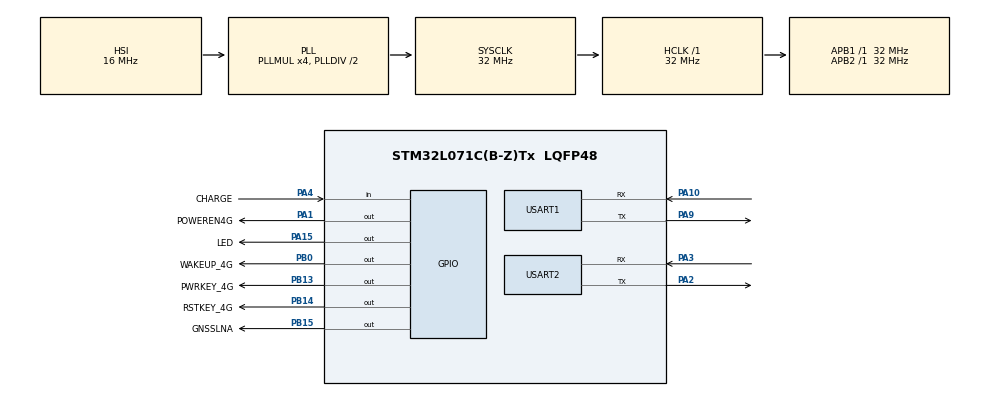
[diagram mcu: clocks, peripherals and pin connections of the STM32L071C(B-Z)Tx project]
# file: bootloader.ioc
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Dma.Request0=USART1_RX
Dma.Request1=USART2_RX
Dma.USART1_RX.0.Direction=DMA_PERIPH_TO_MEMORY
Dma.USART1_RX.0.Instance=DMA1_Channel3
Dma.USART1_RX.0.MemDataAlignment=DMA_MDATAALIGN_BYTE
Dma.USART1_RX.0.MemInc=DMA_MINC_ENABLE
Dma.USART1_RX.0.Mode=DMA_CIRCULAR
Dma.USART1_RX.0.PeriphDataAlignment=DMA_PDATAALIGN_BYTE
Dma.USART1_RX.0.PeriphInc=DMA_PINC_DISABLE
Dma.USART1_RX.0.Priority=DMA_PRIORITY_LOW
Dma.USART2_RX.1.Direction=DMA_PERIPH_TO_MEMORY
Dma.USART2_RX.1.Instance=DMA1_Channel5
Dma.USART2_RX.1.MemDataAlignment=DMA_MDATAALIGN_BYTE
Dma.USART2_RX.1.MemInc=DMA_MINC_ENABLE
Dma.USART2_RX.1.Mode=DMA_CIRCULAR
Dma.USART2_RX.1.PeriphDataAlignment=DMA_PDATAALIGN_BYTE
Dma.USART2_RX.1.PeriphInc=DMA_PINC_DISABLE
Dma.USART2_RX.1.Priority=DMA_PRIORITY_VERY_HIGH
IWDG.Prescaler=IWDG_PRESCALER_256
Mcu.Family=STM32L0
Mcu.Name=STM32L071C(B-Z)Tx
Mcu.Package=LQFP48
NVIC.DMA1_Channel2_3_IRQn=true\:0\:0\:false\:false\:true\:false\:true
NVIC.DMA1_Channel4_5_6_7_IRQn=true\:0\:0\:false\:false\:true\:false\:true
NVIC.RTC_IRQn=true\:0\:0\:false\:false\:true\:true\:true
NVIC.USART1_IRQn=true\:0\:0\:false\:false\:true\:true\:true
NVIC.USART2_IRQn=true\:0\:0\:false\:false\:true\:true\:true
PA1.GPIO_Label=POWEREN4G
PA1.Signal=GPIO_Output
PA10.GPIO_PuPd=GPIO_PULLUP
PA10.Mode=Asynchronous
PA10.Signal=USART1_RX
PA13.Mode=Serial_Wire
PA13.Signal=SYS_SWDIO
PA14.Mode=Serial_Wire
PA14.Signal=SYS_SWCLK
PA15.GPIO_Label=LED
PA15.Signal=GPIO_Output
PA2.GPIO_PuPd=GPIO_PULLUP
PA2.Mode=Asynchronous
PA2.Signal=USART2_TX
PA3.GPIO_PuPd=GPIO_PULLUP
PA3.Mode=Asynchronous
PA3.Signal=USART2_RX
PA4.GPIO_Label=CHARGE
PA4.Signal=GPIO_Input
PA9.GPIO_PuPd=GPIO_PULLUP
PA9.Mode=Asynchronous
PA9.Signal=USART1_TX
PB0.GPIO_Label=WAKEUP_4G
PB0.PinState=GPIO_PIN_SET
PB0.Signal=GPIO_Output
PB13.GPIO_Label=PWRKEY_4G
PB13.GPIO_ModeDefaultOutputPP=GPIO_MODE_OUTPUT_OD
PB13.PinState=GPIO_PIN_SET
PB13.Signal=GPIO_Output
PB14.GPIO_Label=RSTKEY_4G
PB14.GPIO_ModeDefaultOutputPP=GPIO_MODE_OUTPUT_OD
PB14.PinState=GPIO_PIN_SET
PB14.Signal=GPIO_Output
PB15.GPIO_Label=GNSSLNA
PB15.Signal=GPIO_Output
PC14-OSC32_IN.Mode=LSE-External-Oscillator
PC14-OSC32_IN.Signal=RCC_OSC32_IN
PC15-OSC32_OUT.Mode=LSE-External-Oscillator
PC15-OSC32_OUT.Signal=RCC_OSC32_OUT
ProjectManager.HeapSize=0x400
ProjectManager.StackSize=0x1000
ProjectManager.TargetToolchain=MDK-ARM V5.27
RCC.AHBFreq_Value=32000000
RCC.APB1Freq_Value=32000000
RCC.APB1TimFreq_Value=32000000
RCC.APB2Freq_Value=32000000
RCC.APB2TimFreq_Value=32000000
RCC.HCLKFreq_Value=32000000
RCC.HSE_VALUE=8000000
RCC.HSI16_VALUE=16000000
RCC.HSI_VALUE=16000000
RCC.MSI_VALUE=2097000
RCC.PLLMUL=RCC_PLLMUL_4
RCC.RTCClockSelection=RCC_RTCCLKSOURCE_LSE
RCC.SYSCLKFreq_VALUE=32000000
RCC.SYSCLKSource=RCC_SYSCLKSOURCE_PLLCLK
RCC.VCOOutputFreq_Value=64000000
RTC.WakeUpClock-WakeUp=RTC_WAKEUPCLOCK_CK_SPRE_16BITS
RTC.WakeUpCounter-WakeUp=9
USART1.VirtualMode-Asynchronous=VM_ASYNC
USART2.VirtualMode-Asynchronous=VM_ASYNC
VP_IWDG_VS_IWDG.Mode=IWDG_Activate
VP_RTC_VS_RTC_Activate.Mode=RTC_Enabled
VP_RTC_VS_RTC_WakeUp_intern.Mode=WakeUp
board=custom

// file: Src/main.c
/* USER CODE BEGIN Header */
/**
  ******************************************************************************
  * @file           : main.c
  * @brief          : Main program body
  ******************************************************************************
  * @attention
  *
  * <h2><center>&copy; Copyright (c) 2020 STMicroelectronics.
  * All rights reserved.</center></h2>
  *
  * This software component is licensed by ST under BSD 3-Clause license,
  * the "License"; You may not use this file except in compliance with the
  * License. You may obtain a copy of the License at:
  *                        opensource.org/licenses/BSD-3-Clause
  *
  ******************************************************************************
  */
/* USER CODE END Header */

#include "main.h"
#include "dma.h"
#include "iwdg.h"
#include "rtc.h"
#include "usart.h"
#include "gpio.h"

/* USER CODE BEGIN Includes */
#include "app_common.h"
/* USER CODE END Includes */

void SystemClock_Config(void);

/* USER CODE BEGIN 0 */

static void chargeDetProcess(void)
{
    static uint8_t chargestate = 0;
    //充电
    if (CHARGEDET == 1)
    {
        if (chargestate == 0)
        {
            chargestate = 1;
            LogMessage("Chargeing now ,close debug uart\n");
            HAL_UART_DeInit(&huart1);
        }
    }
    else
    {
        if (chargestate == 1)
        {
            chargestate = 0;
            MX_USART1_UART_Init();
            LogMessage("Uncharge,open debug uart\n");

        }
    }
}

void ledtogg(void)
{
    LED_TOGGLE;
    chargeDetProcess();
}
/* USER CODE END 0 */

int main(void)
{

    /* MCU Configuration--------------------------------------------------------*/

    /* Reset of all peripherals, Initializes the Flash interface and the Systick. */
    HAL_Init();

    /* Configure the system clock */
    SystemClock_Config();

    /* Initialize all configured peripherals */
    MX_GPIO_Init();
    MX_DMA_Init();
    MX_USART1_UART_Init();
    MX_USART2_UART_Init();
    MX_IWDG_Init();
    MX_RTC_Init();
    /* USER CODE BEGIN 2 */
    UsartBufInit();
    mcuEEpromInit();
    system_info.logmessagectl = 9;

    if (eeprom_info.updateStatus == 1)
    {
        LogPrintf("Bootversion:N58 Compline:%s %s\n", __DATE__, __TIME__);
        LogMessage("Run Bootloader Upgrade Process!\n");
        LogPrintf("Server:%s\nPort:%d\n", eeprom_info.Server, eeprom_info.ServerPort);
        LogPrintf("APN:%s,User:%s,Password:%s\n", eeprom_info.apn, eeprom_info.apnuser, eeprom_info.apnpassword);

        n58Init();
        updateUIS();

        HAL_UART_Receive_DMA(&huart1, usart1_ctl.dmarxbuf, USART1_RX_DMA_SIZE);
        __HAL_UART_CLEAR_IDLEFLAG(&huart1);
        __HAL_UART_ENABLE_IT(&huart1, UART_IT_IDLE);
        HAL_UART_Receive_DMA(&huart2, usart2_ctl.dmarxbuf, USART2_RX_DMA_SIZE);
        __HAL_UART_CLEAR_IDLEFLAG(&huart2);
        __HAL_UART_ENABLE_IT(&huart2, UART_IT_IDLE);
        startTimer(100, ledtogg, 1);
        startTimer(2000, n58ModulePowerOn, 0);
        startTimer(1000, n58NetworkConnectProcess, 1);
        startTimer(200, outPutNodeCmd, 1);
        startTimer(200, protocolRunFsm, 1);
    }
    else
    {
        LogMessage("Bootloader Done\n");
        if (JumpToApp(APPLICATION_ADDRESS) == 0)
        {
            LogMessage("Jump to app fail\n");
            eepromParamSaveUpdateStatus(1);
            HAL_NVIC_SystemReset();
        }
    }
    /* USER CODE END 2 */

    /* Infinite loop */
    /* USER CODE BEGIN WHILE */
    while (1)
    {
        uartReceiveCompleteCheck();
        timerRun();
        /* USER CODE END WHILE */

    }
}

void SystemClock_Config(void)
{
    RCC_OscInitTypeDef RCC_OscInitStruct = {0};
    RCC_ClkInitTypeDef RCC_ClkInitStruct = {0};
    RCC_PeriphCLKInitTypeDef PeriphClkInit = {0};

    /** Configure the main internal regulator output voltage
    */
    __HAL_PWR_VOLTAGESCALING_CONFIG(PWR_REGULATOR_VOLTAGE_SCALE1);
    /** Configure LSE Drive Capability
    */
    HAL_PWR_EnableBkUpAccess();
    __HAL_RCC_LSEDRIVE_CONFIG(RCC_LSEDRIVE_LOW);
    /** Initializes the CPU, AHB and APB busses clocks
    */
    RCC_OscInitStruct.OscillatorType = RCC_OSCILLATORTYPE_HSI | RCC_OSCILLATORTYPE_LSI
                                       | RCC_OSCILLATORTYPE_LSE;
    RCC_OscInitStruct.LSEState = RCC_LSE_ON;
    RCC_OscInitStruct.HSIState = RCC_HSI_ON;
    RCC_OscInitStruct.HSICalibrationValue = RCC_HSICALIBRATION_DEFAULT;
    RCC_OscInitStruct.LSIState = RCC_LSI_ON;
    RCC_OscInitStruct.PLL.PLLState = RCC_PLL_ON;
    RCC_OscInitStruct.PLL.PLLSource = RCC_PLLSOURCE_HSI;
    RCC_OscInitStruct.PLL.PLLMUL = RCC_PLLMUL_4;
    RCC_OscInitStruct.PLL.PLLDIV = RCC_PLLDIV_2;
    if (HAL_RCC_OscConfig(&RCC_OscInitStruct) != HAL_OK)
    {
        Error_Handler();
    }
    /** Initializes the CPU, AHB and APB busses clocks
    */
    RCC_ClkInitStruct.ClockType = RCC_CLOCKTYPE_HCLK | RCC_CLOCKTYPE_SYSCLK
                                  | RCC_CLOCKTYPE_PCLK1 | RCC_CLOCKTYPE_PCLK2;
    RCC_ClkInitStruct.SYSCLKSource = RCC_SYSCLKSOURCE_PLLCLK;
    RCC_ClkInitStruct.AHBCLKDivider = RCC_SYSCLK_DIV1;
    RCC_ClkInitStruct.APB1CLKDivider = RCC_HCLK_DIV1;
    RCC_ClkInitStruct.APB2CLKDivider = RCC_HCLK_DIV1;

    if (HAL_RCC_ClockConfig(&RCC_ClkInitStruct, FLASH_LATENCY_1) != HAL_OK)
    {
        Error_Handler();
    }
    PeriphClkInit.PeriphClockSelection = RCC_PERIPHCLK_USART1 | RCC_PERIPHCLK_USART2
                                         | RCC_PERIPHCLK_RTC;
    PeriphClkInit.Usart1ClockSelection = RCC_USART1CLKSOURCE_PCLK2;
    PeriphClkInit.Usart2ClockSelection = RCC_USART2CLKSOURCE_PCLK1;
    PeriphClkInit.RTCClockSelection = RCC_RTCCLKSOURCE_LSE;
    if (HAL_RCCEx_PeriphCLKConfig(&PeriphClkInit) != HAL_OK)
    {
        Error_Handler();
    }
}

/* USER CODE BEGIN 4 */

void HAL_RTCEx_WakeUpTimerEventCallback(RTC_HandleTypeDef *hrtc)
{
    HAL_IWDG_Refresh(&hiwdg);
}

/* USER CODE END 4 */

void Error_Handler(void)
{
}

/************************ (C) COPYRIGHT STMicroelectronics *****END OF FILE****/
